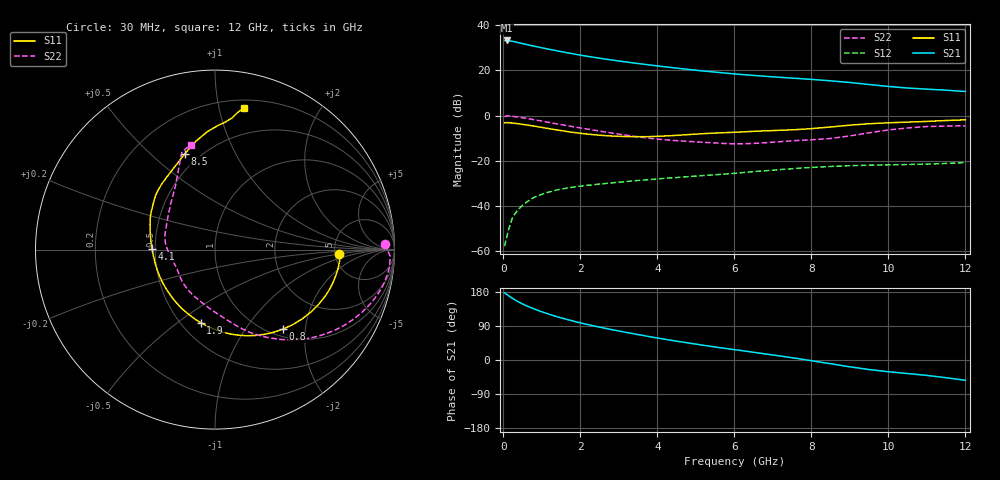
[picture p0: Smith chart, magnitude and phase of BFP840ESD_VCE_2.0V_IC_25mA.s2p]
! (c) 2012  Infineon Technologies AG, Munich
! Infineon Technologies  Discrete & RF Semiconductors
! BFP840ESD
! VCE =  2.0 V,  IC =  25 mA
! Common Emitter S-Parameters:  May 2012
# GHz  S  MA  R  50
!  f  S11  S21  S12  S22
! GHz  MAG  ANG  MAG  ANG  MAG  ANG  MAG  ANG
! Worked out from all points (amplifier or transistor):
!   93 points, 30 MHz to 12 GHz, reference 50 ohm
!   highest |S21| = 33.2 dB at 80 MHz (marker M1)
!   |S21| within 3 dB of that: start of sweep to 930.8 MHz
!   unconditionally stable (mu >= 1): 4.616 GHz to 7.838 GHz
!   at 1.1 GHz: K = 0.46, MSG = 31.9 dB, |S12| = -34.2 dB
!   at 4.2 GHz: K = 0.97, MSG = 24.7 dB, |S12| = -27.8 dB
!   at 12 GHz: K = 0.73, MSG = 15.7 dB, |S12| = -20.8 dB
!   S11 on the Smith chart (normalised r, x): 30 MHz: 5.49, -0.49; 800 MHz: 1.13, -1.52; 1.9 GHz: 0.62, -0.61; 4.1 GHz: 0.48, +0.00; 8.5 GHz: 0.42, +0.64; 12 GHz: 0.27, +1.19
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0.03  0.6939 -1.9  45.36 177.2  0.0013 109.9  0.9471 1.9
0.08  0.6974 -5.5  45.59 173.5  0.002 79.8  0.9764 -2.1
0.23  0.6822 -16.0  43.59 163.0  0.0054 78.8  0.9612 -11.0
0.38  0.659 -25.5  40.9 153.9  0.0083 74.4  0.9246 -17.9
0.5  0.6384 -32.8  38.81 147.6  0.0105 71.5  0.8919 -22.8
0.6  0.6202 -38.5  37.13 142.9  0.0122 67.9  0.8642 -26.6
0.8  0.583 -49.5  34.06 134.7  0.0157 63.1  0.808 -33.5
1  0.5456 -60.0  31.36 127.1  0.0182 60.0  0.7532 -39.7
1.3  0.4941 -74.7  27.83 117.1  0.0217 54.9  0.6758 -47.9
1.6  0.4507 -88.2  24.89 108.3  0.0246 50.3  0.6078 -55.1
1.9  0.4146 -101.1  22.38 100.4  0.027 47.4  0.5491 -61.4
2.1  0.3952 -109.2  20.93 95.6  0.0283 45.6  0.5149 -65.4
2.4  0.3737 -121.1  19.03 88.8  0.03 44.2  0.4677 -70.9
2.9  0.3503 -139.8  16.48 78.4  0.0331 41.3  0.3997 -80.0
3.5  0.3413 -160.7  14.09 67.0  0.0367 39.2  0.3384 -92.6
4.1  0.3501 179.6  12.19 56.4  0.0405 37.1  0.2961 -107.5
5  0.3886 158.7  10.03 41.9  0.0459 33.8  0.2619 -129.7
6.1  0.4308 142.6  8.183 26.0  0.0538 30.5  0.2378 -155.4
8.5  0.5587 107.7  5.846 -9.9  0.0749 13.8  0.3114 148.7
9.5  0.6594 93.6  4.844 -25.2  0.0799 5.1  0.4156 122.1
10.5  0.7159 85.0  4.052 -35.7  0.0828 -1.7  0.5319 111.5
12  0.8047 78.4  3.395 -53.5  0.0911 -9.5  0.5952 102.8
